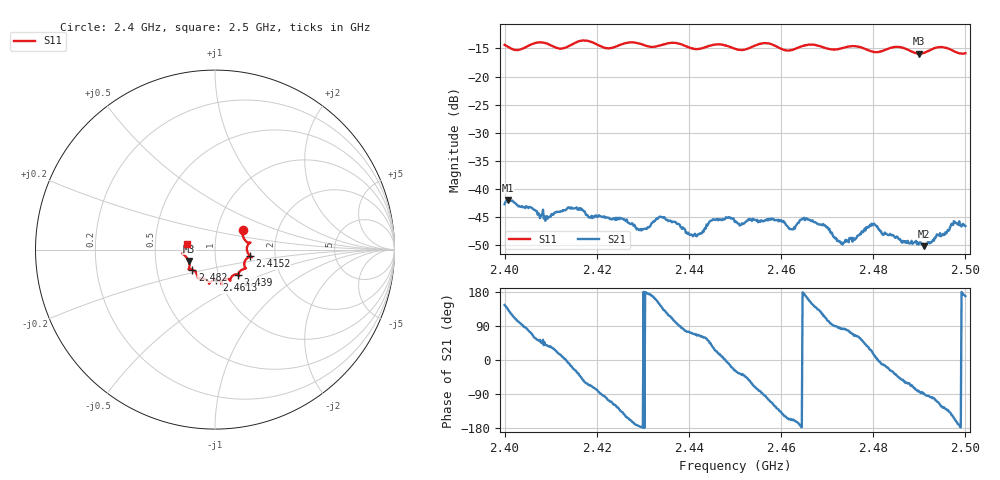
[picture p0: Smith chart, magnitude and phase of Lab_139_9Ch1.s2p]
# Hz S RI R 50
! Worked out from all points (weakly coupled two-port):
!   601 points, 2.4 GHz to 2.5 GHz, reference 50 ohm
!   highest |S21| = -42.00 dB at 2.4007 GHz (marker M1); lowest = -50.2 dB at 2.491 GHz (marker M2)
!   lowest |S11| = -15.9 dB at 2.49 GHz (marker M3), VSWR 1.38, Z = 36.9 - j4.81 ohm
!   |S11| at or under -10 dB: start of sweep to end of sweep
!   S12 and S22 are empty: the file has one direction only
!   S11 on the Smith chart (normalised r, x): 2.4 GHz: 1.33, +0.31; 2.4152 GHz: 1.48, -0.11; 2.439 GHz: 1.24, -0.36; 2.4613 GHz: 0.96, -0.34; 2.482 GHz: 0.76, -0.17; 2.5 GHz: 0.73, +0.05
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2.4e9  0.1559 0.1111  -0.00598 0.00417  0 0  0 0
2.400667e9  0.1546 0.1014  -0.00559 0.00565  0 0  0 0
2.409e9  0.194 0.0388  0.00437 0.00356  0 0  0 0
2.415167e9  0.195 -0.0366  0.00601 -0.0029  0 0  0 0
2.416667e9  0.2044 -0.0426  0.00457 -0.00483  0 0  0 0
2.429167e9  0.1667 -0.1057  -0.00426 -0.000416  0 0  0 0
2.433333e9  0.1324 -0.1325  -0.00481 0.00263  0 0  0 0
2.439e9  0.128 -0.1391  0.000846 0.00435  0 0  0 0
2.441333e9  0.105 -0.141  0.00151 0.00367  0 0  0 0
2.445e9  0.0839 -0.171  0.00415 0.00316  0 0  0 0
2.45e9  0.0679 -0.1633  0.00449 -0.00228  0 0  0 0
2.456667e9  0.0394 -0.1946  -0.000534 -0.00518  0 0  0 0
2.461333e9  0.00765 -0.1704  -0.00418 -0.00205  0 0  0 0
2.466667e9  -0.033 -0.1899  -0.00438 0.00272  0 0  0 0
2.473167e9  -0.0788 -0.1605  0.000411 0.00328  0 0  0 0
2.479833e9  -0.1058 -0.1286  0.00445 0.00161  0 0  0 0
2.482e9  -0.1264 -0.112  0.00384 -0.000784  0 0  0 0
2.483333e9  -0.1395 -0.1101  0.00356 -0.00147  0 0  0 0
2.49e9  -0.1466 -0.0635  0.000384 -0.00329  0 0  0 0
2.491e9  -0.1551 -0.0483  4.77e-05 -0.00308  0 0  0 0
2.4975e9  -0.1681 -0.00621  -0.00459 -0.00232  0 0  0 0
2.5e9  -0.1578 0.0336  -0.00456 0.000934  0 0  0 0
